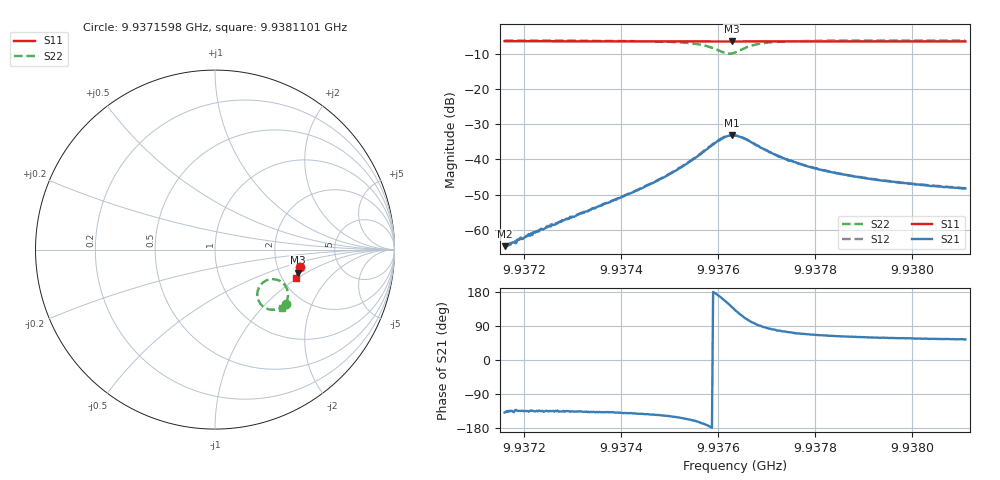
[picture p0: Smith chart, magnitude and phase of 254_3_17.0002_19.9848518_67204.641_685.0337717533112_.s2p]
#  HZ  S  RI  R  50.00
! Rohde & Schwarz Vector Network Analyzer
! Rohde-Schwarz,ZNB20-2Port,1311601062101988,3.16
! Created: UTC 3/20/2024, 11:03:25 PM
! freq[Hz]  re:S11  im:S11  re:S21  im:S21  re:S12  im:S12  re:S22  im:S22
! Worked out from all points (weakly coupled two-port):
!   401 points, 9.9371598 GHz to 9.9381101 GHz, reference 50 ohm
!   highest |S21| = -33.11 dB at 9.9376278 GHz (marker M1); lowest = -64.7 dB at 9.9371598 GHz (marker M2)
!   lowest |S11| = -6.4 dB at 9.9376278 GHz (marker M3), VSWR 2.84, Z = 126 - j41.8 ohm
!   |S11| at or under -10 dB: nowhere
!   |S22| runs from -9.9 to -6.1 dB; largest |S21 - S12| = 0.001
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9.9371598e9  0.4741 -0.0978  -0.000436 -0.000385  -0.000409 -0.000418  0.394 -0.3011
9.93717881e9  0.4737 -0.0992  -0.000487 -0.000443  -0.000474 -0.000474  0.3925 -0.3026
9.93719069e9  0.4734 -0.0999  -0.000522 -0.000532  -0.000512 -0.000504  0.3916 -0.3035
9.93720019e9  0.4732 -0.1006  -0.000551 -0.000542  -0.000584 -0.000539  0.3907 -0.3041
9.93725246e9  0.4723 -0.104  -0.000781 -0.000802  -0.0008 -0.000793  0.3864 -0.3085
9.93731898e9  0.4709 -0.1086  -0.00122 -0.00118  -0.00129 -0.00118  0.3792 -0.3144
9.93739025e9  0.4695 -0.1133  -0.002 -0.00177  -0.00207 -0.00179  0.369 -0.3216
9.93747815e9  0.4676 -0.1193  -0.00421 -0.00293  -0.00435 -0.00289  0.346 -0.3318
9.93752567e9  0.4662 -0.1227  -0.00702 -0.00353  -0.00722 -0.00348  0.3204 -0.3354
9.93757318e9  0.4645 -0.1258  -0.0132 -0.00233  -0.0134 -0.00219  0.2708 -0.319
9.93760644e9  0.4627 -0.1271  -0.0187 0.00521  -0.019 0.00596  0.2355 -0.2516
9.93761832e9  0.4624 -0.1274  -0.0189 0.0101  -0.0187 0.0109  0.244 -0.2131
9.93762782e9  0.4622 -0.1276  -0.017 0.0141  -0.0167 0.0147  0.2644 -0.186
9.93763495e9  0.4623 -0.1276  -0.0146 0.0161  -0.0143 0.0169  0.286 -0.1722
9.93764445e9  0.4626 -0.128  -0.011 0.018  -0.0105 0.0185  0.3165 -0.1645
9.93766346e9  0.4628 -0.1291  -0.00459 0.0179  -0.00413 0.0181  0.366 -0.177
9.93769197e9  0.4628 -0.1313  0.000623 0.0143  0.00093 0.0144  0.3985 -0.2137
9.93774423e9  0.4621 -0.1352  0.00274 0.00926  0.00307 0.0094  0.4068 -0.2576
9.93779412e9  0.4611 -0.1387  0.003 0.00703  0.00316 0.00704  0.4025 -0.2788
9.93786777e9  0.4592 -0.1437  0.00282 0.00522  0.00292 0.00522  0.3949 -0.2966
9.9379533e9  0.4571 -0.1495  0.00259 0.00413  0.00266 0.00414  0.3872 -0.3088
9.93811009e9  0.4531 -0.1595  0.00225 0.00315  0.00231 0.00312  0.3757 -0.3234
